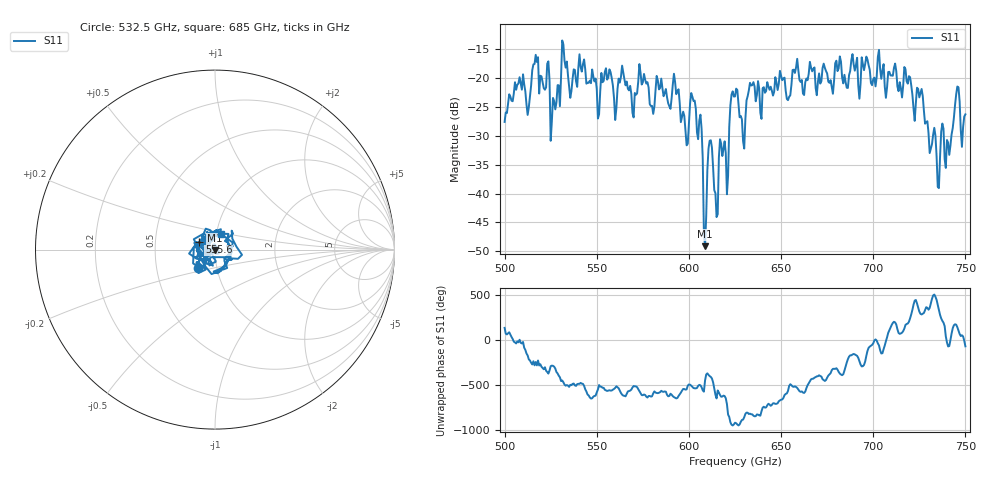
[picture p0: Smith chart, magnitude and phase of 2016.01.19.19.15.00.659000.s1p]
!Created with skrf (http://scikit-rf.org).
# GHz S RI R 50.0
!freq ReS11 ImS11
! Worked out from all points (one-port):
!   401 points, 500 GHz to 750 GHz, reference 50 ohm
!   lowest |S11| = -49.1 dB at 608.8 GHz (marker M1), VSWR 1.01, Z = 50 - j0.351 ohm
!   |S11| at or under -10 dB: start of sweep to end of sweep
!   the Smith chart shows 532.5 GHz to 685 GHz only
!   S11 on the Smith chart (normalised r, x): 532.5 GHz: 0.81, -0.17; 555.6 GHz: 0.84, +0.07; 685 GHz: 1.06, +0.18
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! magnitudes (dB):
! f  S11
! 500 GHz  -27.6
! 506.9 GHz  -21.2
! 513.1 GHz  -25.1
! 516.9 GHz  -16.0
! 526.2 GHz  -23.5
! 531.2 GHz  -13.5
! 532.5 GHz  -17.0
! 550.6 GHz  -27.0
! 555.6 GHz  -20.3
! 560 GHz  -27.3
! 562.5 GHz  -20.8
! 593.8 GHz  -22.3
! 598.8 GHz  -31.7
! 602.5 GHz  -24.0
! 606.2 GHz  -26.4
! 608.8 GHz  -49.1
! 611.2 GHz  -30.9
! 615 GHz  -44.1
! 625 GHz  -23.2
! 629.4 GHz  -30.9
! 633.8 GHz  -21.3
! 656.2 GHz  -18.6
! 685 GHz  -20.7
! 687.5 GHz  -18.8
! 718.8 GHz  -21.0
! 735 GHz  -38.9
! 745.6 GHz  -21.5
! 750 GHz  -26.3
